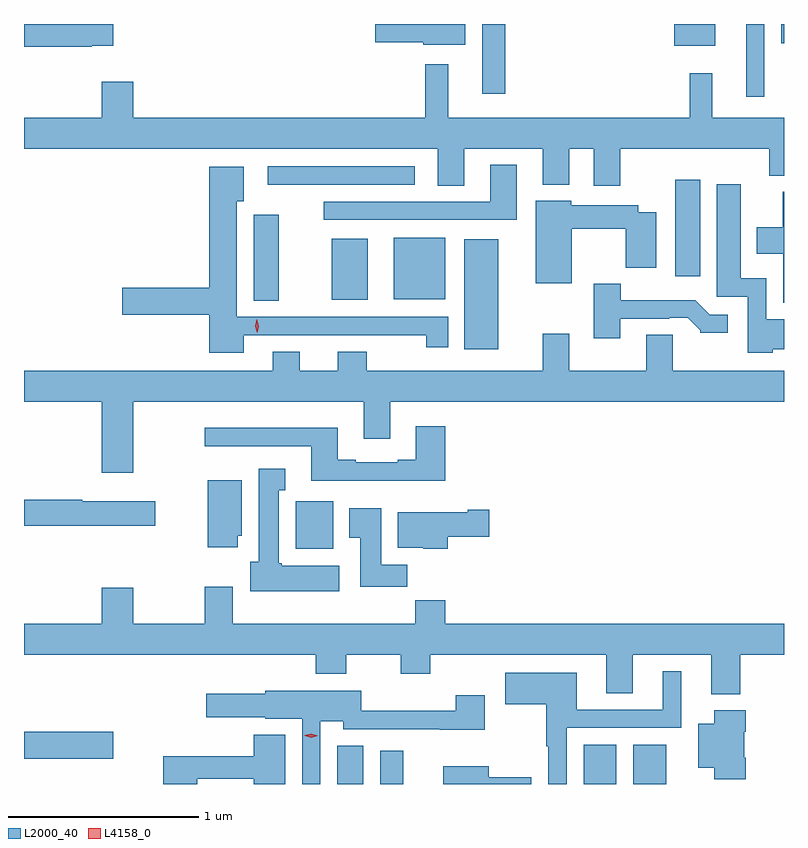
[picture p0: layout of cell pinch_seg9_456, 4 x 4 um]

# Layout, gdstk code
import gdstk
lib = gdstk.Library(unit=1e-6, precision=1e-09)
def R(c, l, rs):  # rectangles x0, y0, x1, y1
    for r in rs: c.add(gdstk.rectangle(r[:2], r[2:], *l))
def P(c, l, *ps):  # polygons
    for p in ps: c.add(gdstk.Polygon(p, *l))
L2000_40 = (2000, 40)
L4158_0 = (4158, 0)

pinch_seg9_456 = lib.new_cell('pinch_seg9_456')
R(pinch_seg9_456, L2000_40, [(346.067,1167.769,346.204,1167.971), (346.292,1167.769,346.414,1167.943), (347.363,1167.769,347.536,1167.976), (347.624,1167.769,347.797,1167.976), (344.418,1167.902,344.887,1168.044), (345.849,1169.006,346.045,1169.256), (346.736,1170.056,346.915,1170.637), (345.626,1170.313,345.76,1170.766), (346.037,1170.317,346.228,1170.64), (346.364,1170.32,346.636,1170.643), (347.846,1170.441,347.977,1170.949), (345.702,1170.924,346.474,1171.02), (348.218,1171.386,348.315,1171.769), (346.829,1171.401,346.951,1171.769), (347.84,1171.655,348.055,1171.769), (348.404,1171.667,348.418,1171.769)])
P(pinch_seg9_456, L2000_40, [(344.774,1171.655),(344.887,1171.655),(344.887,1171.769),(344.418,1171.769),(344.418,1171.648),(344.774,1171.648)],
  [(346.741,1171.769),(346.266,1171.769),(346.266,1171.672),(346.518,1171.672),(346.518,1171.661),(346.741,1171.661)],
  [(347.557,1171.112),(348.341,1171.112),(348.341,1170.971),(348.418,1170.971),(348.418,1171.276),(348.041,1171.276),(348.041,1171.51),(347.923,1171.51),(347.923,1171.276),(346.651,1171.276),(346.651,1171.558),(346.53,1171.558),(346.53,1171.276),(344.992,1171.276),(344.992,1171.465),(344.828,1171.465),(344.828,1171.276),(344.418,1171.276),(344.418,1171.112),(346.595,1171.112),(346.595,1170.919),(346.735,1170.919),(346.735,1171.112),(347.147,1171.112),(347.147,1170.923),(347.287,1170.923),(347.287,1171.112),(347.417,1171.112),(347.417,1170.918),(347.557,1170.918)],
  [(347.011,1171.027),(346.871,1171.027),(346.871,1170.834),(345.996,1170.834),(345.996,1170.738),(347.011,1170.738)],
  [(345.574,1170.132),(346.306,1170.132),(346.306,1170.131),(346.534,1170.131),(346.534,1170.069),(346.651,1170.069),(346.651,1170.228),(345.538,1170.228),(345.538,1170.836),(345.574,1170.836),(345.574,1171.018),(345.392,1171.018),(345.392,1170.38),(344.934,1170.38),(344.934,1170.238),(345.392,1170.238),(345.392,1170.038),(345.574,1170.038)],
  [(348.36,1170.056),(348.418,1170.056),(348.418,1170.214),(348.324,1170.214),(348.324,1170.43),(348.19,1170.43),(348.19,1170.925),(348.065,1170.925),(348.065,1170.333),(348.228,1170.333),(348.228,1170.038),(348.36,1170.038)],
  [(348.418,1170.886),(348.412,1170.886),(348.412,1170.7),(348.275,1170.7),(348.275,1170.56),(348.414,1170.56),(348.414,1170.303),(348.418,1170.303)],
  [(347.302,1170.692),(347.584,1170.692),(347.584,1170.485),(347.746,1170.485),(347.746,1170.778),(347.65,1170.778),(347.65,1170.814),(347.298,1170.814),(347.298,1170.838),(347.111,1170.838),(347.111,1170.404),(347.302,1170.404)],
  [(347.557,1170.219),(347.813,1170.219),(347.813,1170.222),(347.912,1170.222),(347.976,1170.158),(347.976,1170.143),(348.121,1170.143),(348.121,1170.24),(348.027,1170.24),(347.951,1170.316),(347.56,1170.316),(347.56,1170.403),(347.417,1170.403),(347.417,1170.114),(347.557,1170.114)],
  [(344.992,1169.78),(346.205,1169.78),(346.205,1169.586),(346.345,1169.586),(346.345,1169.78),(348.418,1169.78),(348.418,1169.944),(347.833,1169.944),(347.833,1170.134),(347.693,1170.134),(347.693,1169.944),(347.287,1169.944),(347.287,1170.139),(347.147,1170.139),(347.147,1169.944),(346.223,1169.944),(346.223,1170.043),(346.07,1170.043),(346.07,1169.944),(345.868,1169.944),(345.868,1170.043),(345.728,1170.043),(345.728,1169.944),(344.418,1169.944),(344.418,1169.78),(344.828,1169.78),(344.828,1169.406),(344.992,1169.406)],
  [(346.634,1169.653),(346.481,1169.653),(346.481,1169.476),(346.385,1169.476),(346.385,1169.463),(346.165,1169.463),(346.165,1169.476),(346.069,1169.476),(346.069,1169.644),(345.369,1169.644),(345.369,1169.547),(345.929,1169.547),(345.929,1169.366),(346.634,1169.366)],
  [(346.078,1168.918),(345.774,1168.918),(345.774,1168.932),(345.76,1168.932),(345.76,1169.315),(345.793,1169.315),(345.793,1169.428),(345.653,1169.428),(345.653,1168.938),(345.608,1168.938),(345.608,1168.784),(346.078,1168.784)],
  [(345.544,1169.076),(345.565,1169.076),(345.565,1169.368),(345.386,1169.368),(345.386,1169.016),(345.544,1169.016)],
  [(345.109,1169.257),(344.724,1169.257),(344.724,1169.264),(344.418,1169.264),(344.418,1169.128),(345.109,1169.128)],
  [(346.436,1168.924),(346.297,1168.924),(346.297,1169.221),(346.13,1169.221),(346.13,1169.065),(346.187,1169.065),(346.187,1168.806),(346.436,1168.806)],
  [(346.649,1169.071),(346.867,1169.071),(346.867,1169.213),(346.754,1169.213),(346.754,1169.2),(346.385,1169.2),(346.385,1169.012),(346.518,1169.012),(346.518,1169.006),(346.649,1169.006)],
  [(348.188,1168.448),(348.418,1168.448),(348.418,1168.612),(346.634,1168.612),(346.634,1168.736),(346.477,1168.736),(346.477,1168.612),(345.517,1168.612),(345.517,1168.807),(345.37,1168.807),(345.37,1168.612),(344.992,1168.612),(344.992,1168.801),(344.828,1168.801),(344.828,1168.612),(344.418,1168.612),(344.418,1168.448),(345.953,1168.448),(345.953,1168.349),(346.113,1168.349),(346.113,1168.448),(346.402,1168.448),(346.402,1168.349),(346.557,1168.349),(346.557,1168.448),(347.483,1168.448),(347.483,1168.246),(347.623,1168.246),(347.623,1168.448),(348.035,1168.448),(348.035,1168.242),(348.188,1168.242)],
  [(347.274,1168.065),(347.878,1168.065),(347.878,1168.363),(347.78,1168.363),(347.78,1168.161),(347.326,1168.161),(347.326,1168.354),(346.95,1168.354),(346.95,1168.189),(347.166,1168.189),(347.166,1167.968),(347.178,1167.968),(347.178,1167.769),(347.274,1167.769)],
  [(345.978,1168.1),(346.098,1168.1),(346.098,1168.056),(346.607,1168.056),(346.607,1168.055),(346.843,1168.055),(346.843,1168.237),(346.691,1168.237),(346.691,1168.154),(346.194,1168.154),(346.194,1168.261),(345.687,1168.261),(345.687,1168.243),(345.378,1168.243),(345.378,1168.121),(345.687,1168.121),(345.687,1168.112),(345.882,1168.112),(345.882,1167.769),(345.978,1167.769)],
  [(348.216,1167.907),(348.208,1167.907),(348.208,1168.043),(348.216,1168.043),(348.216,1168.156),(348.05,1168.156),(348.05,1168.087),(347.966,1168.087),(347.966,1167.854),(348.05,1167.854),(348.05,1167.795),(348.216,1167.795)],
  [(345.33,1167.796),(345.626,1167.796),(345.626,1167.769),(345.793,1167.769),(345.793,1168.027),(345.626,1168.027),(345.626,1167.914),(345.152,1167.914),(345.152,1167.769),(345.33,1167.769)],
  [(347.089,1167.804),(346.864,1167.804),(346.864,1167.862),(346.625,1167.862),(346.625,1167.769),(347.089,1167.769)])
P(pinch_seg9_456, L4158_0, [(345.93,1168.013),(345.896,1168.024),(345.895,1168.024),(345.896,1168.025),(345.931,1168.033),(345.965,1168.022),(345.965,1168.022),(345.965,1168.022)],
  [(345.645,1170.143),(345.645,1170.143),(345.634,1170.178),(345.642,1170.215),(345.643,1170.215),(345.643,1170.215),(345.654,1170.179),(345.646,1170.143)])

lib.write_gds('pinch_seg9_456.gds')
